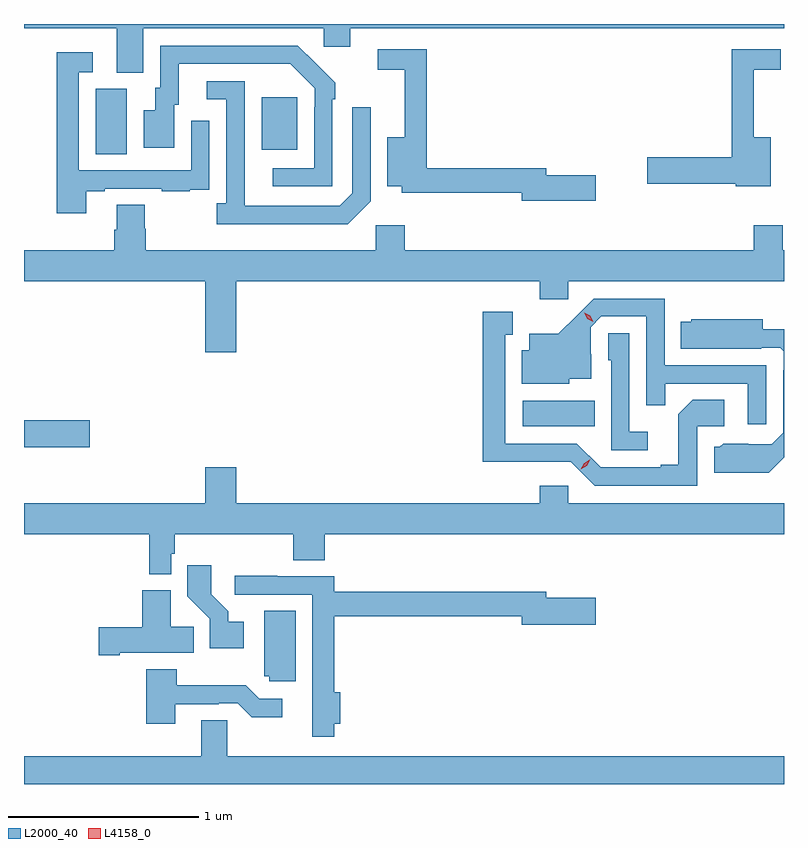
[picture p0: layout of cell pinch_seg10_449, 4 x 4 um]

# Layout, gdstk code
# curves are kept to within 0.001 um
import gdstk
lib = gdstk.Library(unit=1e-6, precision=1e-09)
def R(c, l, rs):  # rectangles x0, y0, x1, y1
    for r in rs: c.add(gdstk.rectangle(r[:2], r[2:], *l))
def P(c, l, *ps):  # polygons
    for p in ps: c.add(gdstk.Polygon(p, *l))
L2000_40 = (2000, 40)
L4158_0 = (4158, 0)

pinch_seg10_449 = lib.new_cell('pinch_seg10_449')
R(pinch_seg10_449, L2000_40, [(319.899,1296.778,320.245,1296.92), (322.524,1296.89,322.904,1297.024), (320.276,1298.32,320.44,1298.664), (321.149,1298.345,321.337,1298.62)])
P(pinch_seg10_449, L2000_40, [(323.899,1299.006),(319.899,1299.006),(319.899,1298.984),(320.387,1298.984),(320.387,1298.749),(320.527,1298.749),(320.527,1298.984),(321.477,1298.984),(321.477,1298.886),(321.616,1298.886),(321.616,1298.984),(323.899,1298.984)],
  [(321.522,1298.609),(321.537,1298.609),(321.537,1298.697),(321.34,1298.892),(320.616,1298.892),(320.616,1298.67),(320.591,1298.67),(320.591,1298.551),(320.528,1298.551),(320.528,1298.355),(320.689,1298.355),(320.689,1298.58),(320.713,1298.58),(320.713,1298.796),(321.301,1298.796),(321.429,1298.667),(321.429,1298.567),(321.426,1298.567),(321.426,1298.247),(321.207,1298.247),(321.207,1298.151),(321.522,1298.151)],
  [(323.83,1298.41),(323.741,1298.41),(323.741,1298.766),(323.881,1298.766),(323.881,1298.874),(323.623,1298.874),(323.623,1298.306),(323.178,1298.306),(323.178,1298.164),(323.646,1298.164),(323.646,1298.153),(323.83,1298.153)],
  [(322.909,1298.21),(322.648,1298.21),(322.648,1298.246),(322.019,1298.246),(322.019,1298.874),(321.762,1298.874),(321.762,1298.766),(321.902,1298.766),(321.902,1298.41),(321.812,1298.41),(321.812,1298.153),(321.888,1298.153),(321.888,1298.118),(322.52,1298.118),(322.52,1298.075),(322.909,1298.075)],
  [(320.227,1298.127),(320.323,1298.127),(320.323,1298.139),(320.623,1298.139),(320.623,1298.127),(320.771,1298.127),(320.771,1298.133),(320.873,1298.133),(320.873,1298.242),(320.874,1298.242),(320.874,1298.497),(320.778,1298.497),(320.778,1298.235),(320.187,1298.235),(320.187,1298.751),(320.26,1298.751),(320.26,1298.857),(320.071,1298.857),(320.071,1298.01),(320.227,1298.01)],
  [(321.723,1298.073),(321.723,1298.569),(321.627,1298.569),(321.627,1298.115),(321.561,1298.049),(321.061,1298.049),(321.06,1298.706),(320.862,1298.706),(320.862,1298.61),(320.964,1298.61),(320.964,1298.062),(320.913,1298.062),(320.913,1297.952),(321.602,1297.952)],
  [(321.016,1297.652),(322.613,1297.652),(322.613,1297.557),(322.764,1297.557),(322.764,1297.652),(323.899,1297.652),(323.899,1297.816),(323.892,1297.816),(323.892,1297.948),(323.741,1297.948),(323.741,1297.816),(321.902,1297.816),(321.902,1297.948),(321.75,1297.948),(321.75,1297.816),(320.54,1297.816),(320.54,1297.929),(320.535,1297.929),(320.535,1298.054),(320.387,1298.054),(320.387,1297.922),(320.375,1297.922),(320.375,1297.816),(319.899,1297.816),(319.899,1297.652),(320.852,1297.652),(320.852,1297.278),(321.016,1297.278)],
  [(323.805,1297.209),(323.271,1297.209),(323.271,1297.56),(322.898,1297.56),(322.711,1297.375),(322.559,1297.375),(322.559,1297.288),(322.52,1297.288),(322.52,1297.112),(322.77,1297.112),(322.77,1297.139),(322.885,1297.139),(322.885,1297.268),(322.881,1297.268),(322.881,1297.41),(322.938,1297.467),(323.175,1297.467),(323.175,1297),(323.273,1297),(323.273,1297.113),(323.709,1297.113),(323.709,1296.9),(323.805,1296.9)],
  [(323.442,1296.888),(323.584,1296.888),(323.584,1297.028),(323.419,1297.028),(323.343,1296.952),(323.343,1296.685),(323.249,1296.685),(323.249,1296.672),(322.935,1296.672),(322.809,1296.798),(322.432,1296.798),(322.432,1297.371),(322.471,1297.371),(322.471,1297.492),(322.314,1297.492),(322.314,1296.701),(322.776,1296.702),(322.902,1296.576),(323.442,1296.576)],
  [(323.899,1296.725),(323.899,1297.399),(323.788,1297.399),(323.788,1297.453),(323.412,1297.453),(323.412,1297.438),(323.356,1297.438),(323.356,1297.298),(323.78,1297.298),(323.78,1297.302),(323.88,1297.302),(323.898,1297.284),(323.898,1297.184),(323.895,1297.184),(323.895,1296.855),(323.835,1296.795),(323.578,1296.796),(323.562,1296.78),(323.531,1296.78),(323.531,1296.644),(323.819,1296.644)],
  [(323.182,1296.859),(323.085,1296.859),(323.085,1297.379),(322.974,1297.379),(322.974,1297.236),(322.989,1297.236),(322.989,1296.762),(323.182,1296.762)],
  [(320.673,1296.219),(320.693,1296.219),(320.693,1296.32),(321.317,1296.32),(321.317,1296.184),(321.482,1296.184),(321.482,1296.32),(323.899,1296.32),(323.899,1296.484),(322.764,1296.484),(322.764,1296.577),(322.613,1296.577),(322.613,1296.484),(321.016,1296.484),(321.016,1296.673),(320.852,1296.673),(320.852,1296.484),(319.899,1296.484),(319.899,1296.32),(320.557,1296.32),(320.557,1296.11),(320.673,1296.11)],
  [(321.055,1295.86),(320.974,1295.86),(320.974,1295.915),(320.884,1296.005),(320.884,1296.157),(320.758,1296.157),(320.758,1295.994),(320.877,1295.875),(320.877,1295.72),(321.055,1295.72)],
  [(321.533,1295.324),(321.563,1295.324),(321.563,1295.49),(321.533,1295.49),(321.533,1295.89),(322.52,1295.89),(322.52,1295.843),(322.909,1295.843),(322.909,1295.985),(322.648,1295.985),(322.648,1296.019),(321.533,1296.019),(321.533,1296.099),(321.233,1296.099),(321.233,1296.102),(321.009,1296.102),(321.009,1296.003),(321.417,1296.003),(321.417,1295.478),(321.416,1295.478),(321.416,1295.256),(321.533,1295.256)],
  [(320.404,1295.696),(320.792,1295.696),(320.792,1295.834),(320.671,1295.834),(320.671,1296.025),(320.522,1296.025),(320.522,1295.831),(320.292,1295.831),(320.292,1295.684),(320.404,1295.684)],
  [(321.328,1295.918),(321.164,1295.918),(321.164,1295.574),(321.189,1295.574),(321.189,1295.547),(321.328,1295.547)],
  [(320.695,1295.427),(320.924,1295.427),(320.924,1295.43),(321.024,1295.43),(321.097,1295.357),(321.259,1295.357),(321.259,1295.454),(321.138,1295.454),(321.065,1295.527),(320.703,1295.527),(320.703,1295.611),(320.543,1295.611),(320.543,1295.322),(320.695,1295.322)],
  [(323.899,1295.152),(320.97,1295.152),(320.97,1295.342),(320.831,1295.342),(320.831,1295.152),(319.899,1295.152),(319.899,1295.006),(323.899,1295.006)])
P(pinch_seg10_449, L4158_0, [(322.895,1297.44),(322.864,1297.456),(322.847,1297.486),(322.847,1297.486),(322.847,1297.486),(322.878,1297.47),(322.895,1297.44),(322.895,1297.44)],
  [(322.83,1296.662),(322.83,1296.662),(322.847,1296.695),(322.879,1296.714),(322.879,1296.714),(322.879,1296.714),(322.862,1296.682),(322.83,1296.662)])

lib.write_gds('pinch_seg10_449.gds')
